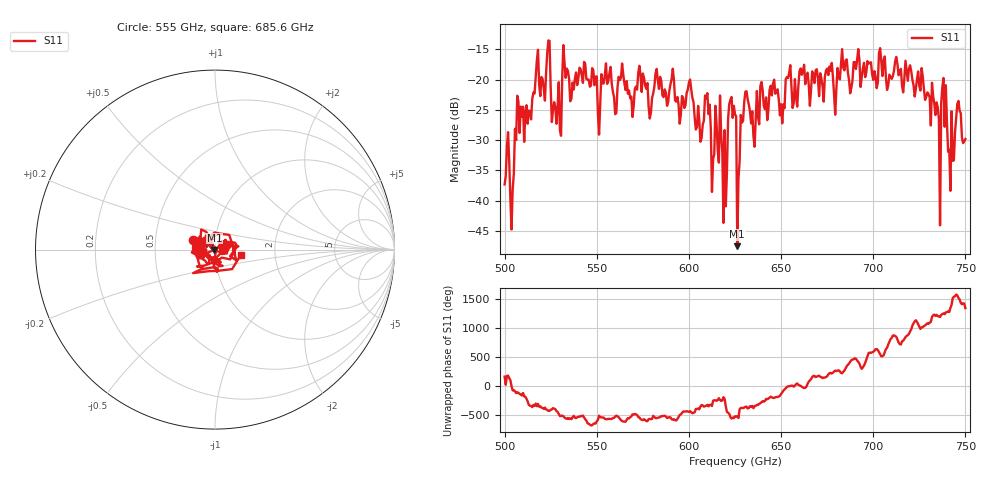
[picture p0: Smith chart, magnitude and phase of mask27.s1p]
!Created with skrf (http://scikit-rf.org).
# GHz S MA R 50.0
!freq magS11 angS11
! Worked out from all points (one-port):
!   401 points, 500 GHz to 750 GHz, reference 50 ohm
!   lowest |S11| = -47.5 dB at 626.2 GHz (marker M1), VSWR 1.01, Z = 49.6 - j0.203 ohm
!   |S11| at or under -10 dB: start of sweep to end of sweep
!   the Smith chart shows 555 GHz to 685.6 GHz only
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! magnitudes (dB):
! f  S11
! 500 GHz  -37.3
! 503.8 GHz  -44.8
! 506.9 GHz  -22.7
! 516.9 GHz  -19.4
! 523.8 GHz  -13.5
! 529.4 GHz  -20.4
! 531.2 GHz  -19.7
! 562.5 GHz  -20.1
! 593.8 GHz  -22.9
! 600.6 GHz  -20.0
! 606.9 GHz  -29.7
! 610 GHz  -22.2
! 612.5 GHz  -38.6
! 619.4 GHz  -28.4
! 622.5 GHz  -23.3
! 625 GHz  -25.8
! 626.2 GHz  -47.5
! 631.2 GHz  -21.9
! 635 GHz  -29.4
! 656.2 GHz  -24.7
! 687.5 GHz  -22.3
! 718.8 GHz  -20.2
! 733.1 GHz  -24.0
! 735 GHz  -24.6
! 738.1 GHz  -19.7
! 742.5 GHz  -25.2
! 746.2 GHz  -23.5
! 750 GHz  -29.8
